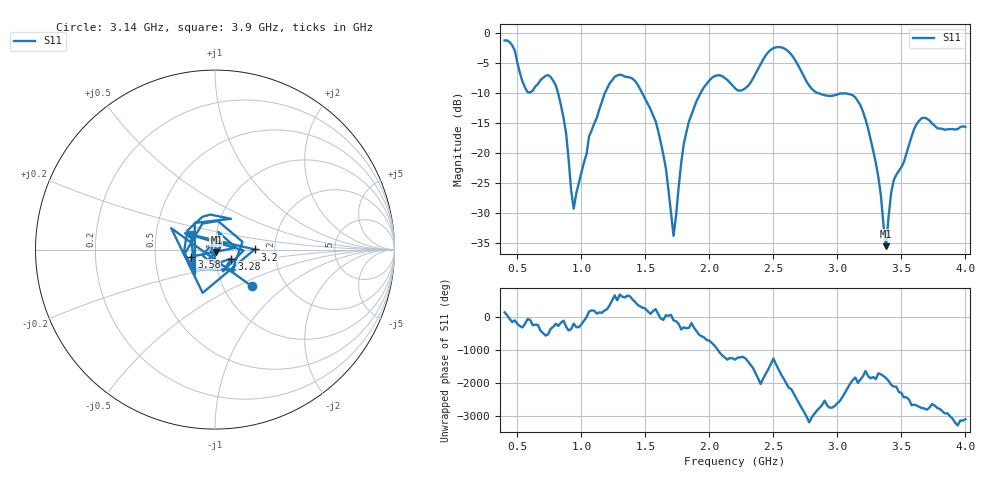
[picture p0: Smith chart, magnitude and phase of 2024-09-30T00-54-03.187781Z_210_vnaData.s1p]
!Created with skrf (http://scikit-rf.org).
# Hz S RI R 50.0
!freq ReS11 ImS11
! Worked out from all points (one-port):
!   181 points, 400 MHz to 4 GHz, reference 50 ohm
!   lowest |S11| = -35.6 dB at 3.38 GHz (marker M1), VSWR 1.03, Z = 50.8 - j1.49 ohm
!   |S11| at or under -10 dB: 817.7 MHz to 1.183 GHz (365.5 MHz wide, 36.5 % of centre); 1.476 GHz to 1.931 GHz (455.2 MHz wide, 26.7 % of centre); 2.849 GHz to end of sweep
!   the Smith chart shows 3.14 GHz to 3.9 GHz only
!   S11 on the Smith chart (normalised r, x): 3.14 GHz: 1.36, -0.61; 3.2 GHz: 1.57, +0.00; 3.28 GHz: 1.19, -0.12; 3.58 GHz: 0.77, -0.06; 3.9 GHz: 0.75, +0.13
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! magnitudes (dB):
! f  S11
! 400 MHz  -1.2
! 580 MHz  -9.8
! 760 MHz  -7.3
! 860 MHz  -14.1
! 940 MHz  -29.3
! 1.06 GHz  -17.2
! 1.3 GHz  -6.9
! 1.58 GHz  -14.7
! 1.66 GHz  -22.6
! 1.72 GHz  -33.9
! 1.76 GHz  -25.7
! 1.82 GHz  -16.5
! 1.94 GHz  -9.6
! 2.2 GHz  -9.2
! 2.5 GHz  -2.5
! 2.66 GHz  -4.1
! 2.82 GHz  -9.7
! 3.1 GHz  -10.2
! 3.14 GHz  -10.7
! 3.2 GHz  -13.1
! 3.28 GHz  -19.6
! 3.38 GHz  -35.6
! 3.44 GHz  -24.6
! 3.56 GHz  -18.6
! 3.58 GHz  -17.2
! 3.66 GHz  -14.2
! 3.9 GHz  -16.0
! 4 GHz  -15.6
